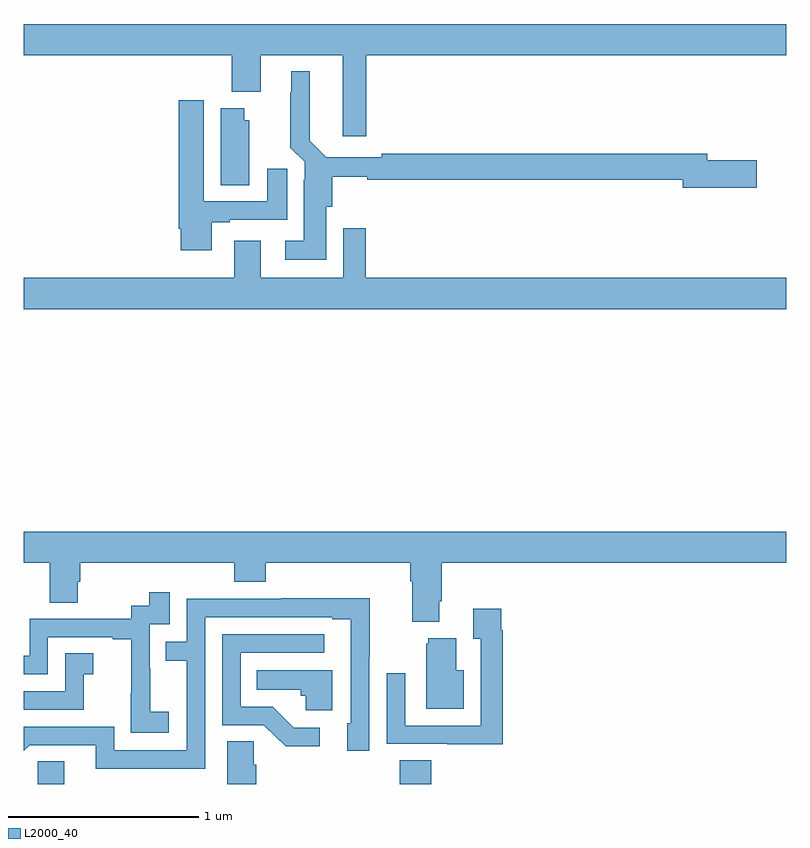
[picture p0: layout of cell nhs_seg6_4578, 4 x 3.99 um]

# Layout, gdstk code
import gdstk
lib = gdstk.Library(unit=1e-6, precision=1e-09)
def R(c, l, rs):  # rectangles x0, y0, x1, y1
    for r in rs: c.add(gdstk.rectangle(r[:2], r[2:], *l))
def P(c, l, *ps):  # polygons
    for p in ps: c.add(gdstk.Polygon(p, *l))
L2000_40 = (2000, 40)

nhs_seg6_4578 = lib.new_cell('nhs_seg6_4578')
R(nhs_seg6_4578, L2000_40, [(381.072,955.5,381.211,955.619), (382.973,955.5,383.138,955.625)])
P(nhs_seg6_4578, L2000_40, [(382.796,959.324),(385,959.324),(385,959.488),(381,959.488),(381,959.324),(382.091,959.324),(382.091,959.132),(382.243,959.132),(382.243,959.324),(382.673,959.324),(382.673,958.899),(382.796,958.899)],
  [(382.588,958.53),(382.619,958.53),(382.619,958.687),(382.802,958.687),(382.802,958.672),(384.458,958.672),(384.458,958.63),(384.847,958.63),(384.847,958.772),(384.586,958.772),(384.586,958.808),(382.879,958.808),(382.879,958.788),(382.588,958.788),(382.501,958.876),(382.501,959.239),(382.403,959.239),(382.403,959.129),(382.399,959.129),(382.399,958.838),(382.473,958.764),(382.473,958.67),(382.469,958.67),(382.469,958.351),(382.371,958.351),(382.371,958.25),(382.588,958.25)],
  [(381.985,958.449),(382.081,958.449),(382.081,958.461),(382.381,958.461),(382.381,958.729),(382.277,958.729),(382.277,958.557),(381.943,958.557),(381.943,959.089),(381.812,959.089),(381.812,958.414),(381.824,958.414),(381.824,958.302),(381.985,958.302)],
  [(382.183,958.983),(382.156,958.983),(382.156,959.047),(382.034,959.047),(382.034,958.642),(382.183,958.642)],
  [(385,958.156),(382.793,958.156),(382.793,958.417),(382.677,958.417),(382.677,958.156),(382.243,958.156),(382.243,958.351),(382.103,958.351),(382.103,958.156),(381,958.156),(381,957.992),(385,957.992)],
  [(383.179,956.458),(383.192,956.458),(383.192,956.66),(385,956.66),(385,956.824),(381,956.824),(381,956.66),(381.136,956.66),(381.136,956.452),(381.283,956.452),(381.283,956.562),(381.296,956.562),(381.296,956.66),(382.103,956.66),(382.103,956.561),(382.268,956.561),(382.268,956.66),(383.027,956.66),(383.027,956.564),(383.039,956.564),(383.039,956.351),(383.179,956.351)],
  [(381.76,955.879),(381.662,955.879),(381.662,956.108),(381.66,956.108),(381.66,956.337),(381.765,956.337),(381.765,956.506),(381.657,956.506),(381.657,956.436),(381.564,956.436),(381.564,956.367),(381.03,956.367),(381.03,956.172),(381,956.172),(381,956.076),(381.126,956.076),(381.126,956.271),(381.467,956.271),(381.467,956.259),(381.563,956.259),(381.563,955.975),(381.562,955.975),(381.562,955.769),(381.76,955.769)],
  [(381.951,956.376),(382.619,956.376),(382.619,956.364),(382.716,956.364),(382.716,955.818),(382.697,955.818),(382.697,955.674),(382.812,955.674),(382.812,956.167),(382.815,956.167),(382.815,956.474),(382.351,956.474),(382.351,956.472),(381.855,956.472),(381.855,956.247),(381.745,956.247),(381.745,956.146),(381.855,956.146),(381.855,955.677),(381.474,955.677),(381.474,955.8),(381,955.8),(381,955.674),(381.03,955.704),(381.377,955.704),(381.377,955.581),(381.951,955.581)],
  [(383.513,956.306),(383.506,956.306),(383.506,956.419),(383.357,956.419),(383.357,956.263),(383.397,956.263),(383.397,955.806),(383.001,955.806),(383.001,956.08),(382.905,956.08),(382.905,955.71),(383.221,955.71),(383.221,955.709),(383.513,955.709)],
  [(382.552,955.794),(382.417,955.794),(382.306,955.905),(382.137,955.905),(382.137,956.19),(382.576,956.19),(382.576,956.286),(382.041,956.286),(382.041,955.809),(382.26,955.809),(382.373,955.697),(382.552,955.697)],
  [(383.308,956.098),(383.269,956.098),(383.269,956.266),(383.123,956.266),(383.123,956.235),(383.111,956.235),(383.111,955.895),(383.308,955.895)],
  [(381.315,956.075),(381.364,956.075),(381.364,956.185),(381.216,956.185),(381.216,955.986),(381,955.986),(381,955.89),(381.315,955.89)],
  [(382.618,956.098),(382.222,956.098),(382.222,955.994),(382.453,955.994),(382.453,955.962),(382.479,955.962),(382.479,955.886),(382.618,955.886)],
  [(382.22,955.601),(382.206,955.601),(382.206,955.724),(382.067,955.724),(382.067,955.5),(382.22,955.5)])

lib.write_gds('nhs_seg6_4578.gds')
